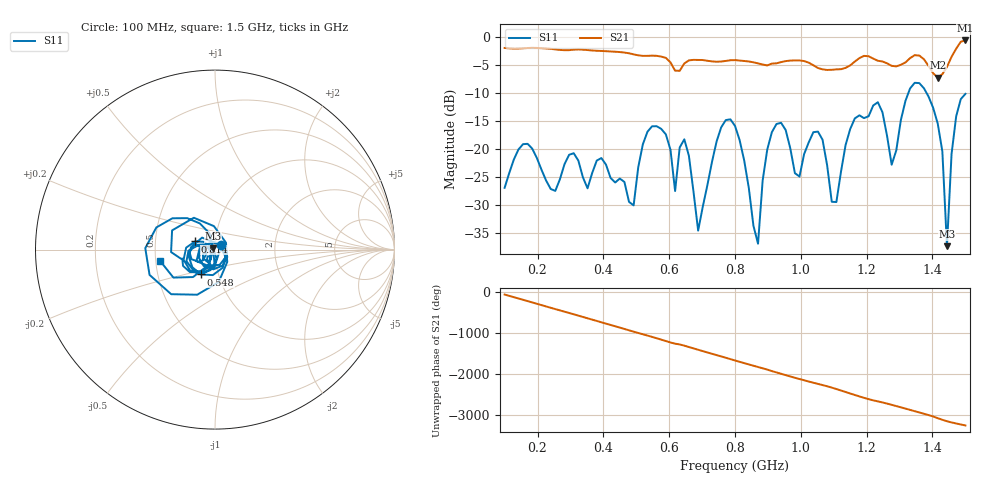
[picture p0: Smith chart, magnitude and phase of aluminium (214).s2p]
! NanoVNA-App
! Date: 2025-09-25 14:56:57
! Start: 100MHz Stop: 1,5GHz Points: 101
! S-Parameter data: F S11 S21 S12 S22
# Hz S RI R 50
!  Frequency  S11_Real  S11_Imag  S21_Real  S21_Imag  S12_Real  S12_Imag  S22_Real  S22_Imag
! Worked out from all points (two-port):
!   101 points, 100 MHz to 1.5 GHz, reference 50 ohm
!   highest |S21| = -0.58 dB at 1.5 GHz (marker M1); lowest = -7.2 dB at 1.416 GHz (marker M2)
!   |S21| within 3 dB of the highest: start of sweep to 582.6 MHz; 1.457 GHz to end of sweep (the widest 2 of 4)
!   lowest |S11| = -37.4 dB at 1.444 GHz (marker M3), VSWR 1.03, Z = 48.8 + j0.658 ohm
!   |S11| at or under -10 dB: start of sweep to 1.327 GHz; 1.382 GHz to end of sweep
!   S12 and S22 are empty: the file has one direction only
!   S11 on the Smith chart (normalised r, x): 100 MHz: 1.07, +0.06; 548 MHz: 0.82, -0.23; 814 MHz: 0.80, +0.07; 1.5 GHz: 0.53, -0.08
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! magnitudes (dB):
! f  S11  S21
! 100 MHz  -27.0  -1.9
! 338 MHz  -25.1  -2.2
! 492 MHz  -30.1  -3.1
! 548 MHz  -15.9  -3.3
! 576 MHz  -16.4  -3.5
! 618 MHz  -27.5  -6.0
! 646 MHz  -18.3  -4.7
! 688 MHz  -34.6  -4.1
! 800 MHz  -15.9  -4.1
! 814 MHz  -18.4  -4.2
! 870 MHz  -37.0  -4.7
! 912 MHz  -17.0  -4.7
! 996 MHz  -24.9  -4.2
! 1.038 GHz  -17.0  -5.0
! 1.094 GHz  -29.5  -5.8
! 1.234 GHz  -11.6  -4.2
! 1.276 GHz  -22.8  -5.1
! 1.346 GHz  -8.2  -3.2
! 1.416 GHz  -15.5  -7.2
! 1.444 GHz  -37.4  -5.3
! 1.458 GHz  -20.9  -3.5
! 1.5 GHz  -10.1  -0.6
